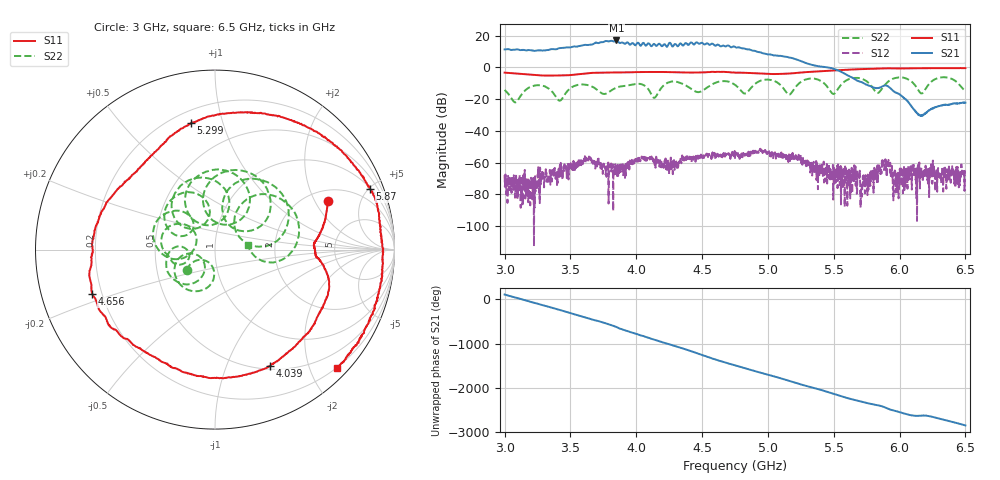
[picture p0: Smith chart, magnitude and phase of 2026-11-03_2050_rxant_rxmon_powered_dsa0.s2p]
! HEWLETT PACKARD,8720ES,MY41003347,7.72, via bringup/vna_tests.py
! rxant_rxmon_powered_dsa0
! measured 2026-11-03 20:51:03, 1601 points, 3000000000-6500000000 Hz, IF bandwidth 1000 Hz, source -40.00 dBm, kit CALK35MD
! board A, DSA 0.00 dB (set before each sweep)
# HZ S RI R 50
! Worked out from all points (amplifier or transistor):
!   1601 points, 3 GHz to 6.5 GHz, reference 50 ohm
!   highest |S21| = 17.0 dB at 3.849 GHz (marker M1)
!   |S21| within 3 dB of that: 3.597 GHz to 3.994 GHz (397.4 MHz wide, 10.5 % of centre)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
!   unconditionally stable (mu >= 1): start of sweep to end of sweep
!   at 3.582 GHz: K = 61.61, MAG = 16.2 dB, |S12| = -60.5 dB
!   at 4.75 GHz: K = 39.51, MAG = 16.0 dB, |S12| = -57.1 dB
!   at 6.5 GHz: K = 1689.57, MAG = -12.1 dB, |S12| = -68.6 dB
!   S11 on the Smith chart (normalised r, x): 3 GHz: 2.49, +2.56; 4.039 GHz: 0.54, -1.44; 4.656 GHz: 0.16, -0.17; 5.299 GHz: 0.27, +0.79; 5.87 GHz: 1.06, +5.06; 6.5 GHz: 0.19, -2.46
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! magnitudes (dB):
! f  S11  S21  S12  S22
! 3 GHz  -3.3  11.3  -67.8  -14.2
! 3.081 GHz  -3.8  11.2  -79.6  -22.0
! 3.177 GHz  -4.5  10.9  -70.5  -13.1
! 3.42 GHz  -5.1  12.1  -61.6  -21.0
! 3.584 GHz  -4.1  13.7  -58.7  -10.7
! 3.849 GHz  -3.2  17.0  -65.0  -12.7
! 4.039 GHz  -2.9  14.1  -57.7  -10.6
! 4.168 GHz  -2.9  14.7  -59.0  -15.7
! 4.656 GHz  -2.8  13.6  -54.8  -8.6
! 4.75 GHz  -3.3  12.9  -57.1  -11.0
! 5.019 GHz  -4.1  8.2  -54.7  -7.9
! 5.161 GHz  -3.9  6.2  -54.2  -17.2
! 5.299 GHz  -2.9  2.5  -58.6  -7.3
! 5.334 GHz  -2.7  1.6  -60.1  -7.0
! 5.498 GHz  -1.9  -0.9  -73.8  -16.7
! 5.719 GHz  -1.1  -9.6  -72.6  -7.4
! 5.87 GHz  -0.7  -11.9  -58.5  -13.0
! 5.918 GHz  -0.6  -12.3  -62.3  -8.6
! 5.988 GHz  -0.6  -16.4  -66.4  -6.3
! 6.157 GHz  -0.5  -30.3  -64.3  -16.0
! 6.329 GHz  -0.5  -23.8  -69.5  -6.2
! 6.5 GHz  -0.5  -22.2  -68.6  -14.6
